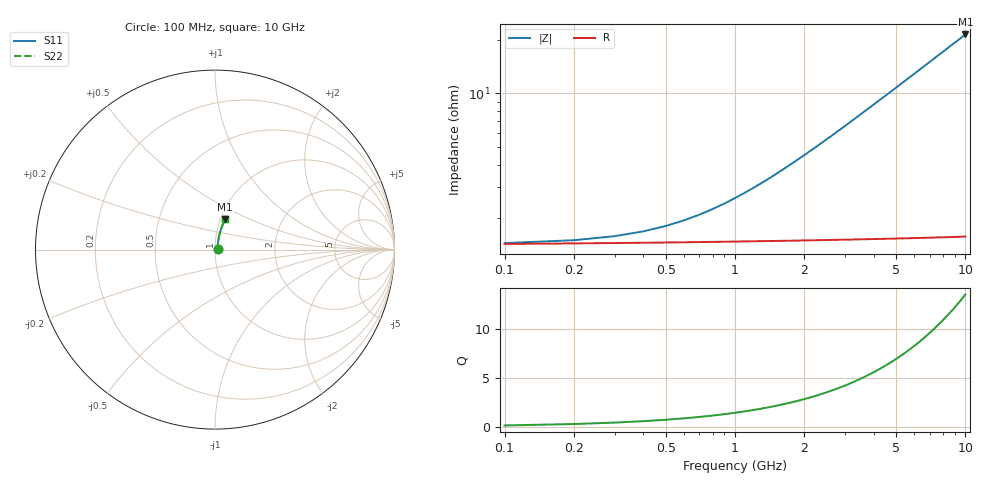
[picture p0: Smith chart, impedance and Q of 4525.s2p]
# Hz S RI R 50.00
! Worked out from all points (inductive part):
!   100 points, 100 MHz to 10 GHz, reference 50 ohm
!   read as one part in series: L = 340 pH near 2.2 GHz
!   highest Q = 13.5 at 10 GHz (marker M1), where L = 339 pH
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1e8  0.0142 0.00176  0.9858 -0.00238  0.9858 -0.00238  0.0142 0.00176
2e8  0.0143 0.00353  0.9857 -0.00476  0.9857 -0.00476  0.0143 0.00353
3e8  0.0144 0.00529  0.9856 -0.00714  0.9856 -0.00714  0.0144 0.00529
4e8  0.0145 0.00705  0.9855 -0.00952  0.9855 -0.00952  0.0145 0.00705
6e8  0.0147 0.0106  0.9853 -0.0143  0.9853 -0.0143  0.0147 0.0106
1e9  0.0151 0.0176  0.9849 -0.0238  0.9849 -0.0238  0.0151 0.0176
1.2e9  0.0153 0.0211  0.9847 -0.0285  0.9847 -0.0285  0.0153 0.0211
1.5e9  0.0157 0.0264  0.9842 -0.0357  0.9842 -0.0357  0.0157 0.0264
1.8e9  0.0162 0.0317  0.9837 -0.0428  0.9837 -0.0428  0.0162 0.0317
2.1e9  0.0167 0.0369  0.9832 -0.0499  0.9832 -0.0499  0.0167 0.0369
2.5e9  0.0176 0.0439  0.9823 -0.0594  0.9823 -0.0594  0.0176 0.0439
2.9e9  0.0186 0.0509  0.9813 -0.0688  0.9813 -0.0688  0.0186 0.0509
3.4e9  0.02 0.0595  0.9798 -0.0806  0.9798 -0.0806  0.02 0.0595
3.8e9  0.0212 0.0665  0.9785 -0.09  0.9785 -0.09  0.0212 0.0665
4.2e9  0.0226 0.0733  0.977 -0.0993  0.977 -0.0993  0.0226 0.0733
4.6e9  0.0241 0.0802  0.9754 -0.1086  0.9754 -0.1086  0.0241 0.0802
5.1e9  0.0262 0.0887  0.9733 -0.1202  0.9733 -0.1202  0.0262 0.0887
5.9e9  0.03 0.1022  0.9693 -0.1387  0.9693 -0.1387  0.03 0.1022
6.7e9  0.0342 0.1155  0.9649 -0.157  0.9649 -0.157  0.0342 0.1155
7.5e9  0.039 0.1285  0.9599 -0.175  0.9599 -0.175  0.039 0.1285
8.4e9  0.0449 0.143  0.9537 -0.1951  0.9537 -0.1951  0.0449 0.143
1e10  0.0568 0.1679  0.9412 -0.23  0.9412 -0.23  0.0568 0.1679
